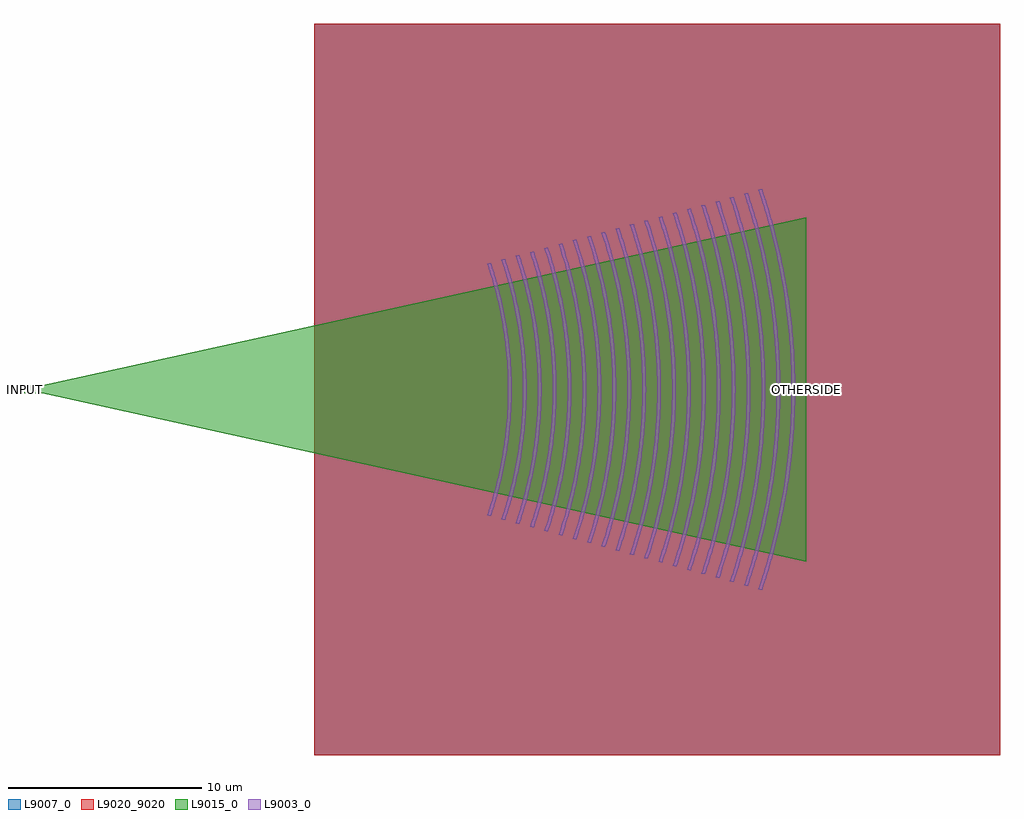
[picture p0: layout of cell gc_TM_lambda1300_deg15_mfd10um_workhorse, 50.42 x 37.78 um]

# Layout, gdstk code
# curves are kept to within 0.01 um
import gdstk
lib = gdstk.Library(unit=1e-6, precision=1e-09)
def R(c, l, rs):  # rectangles x0, y0, x1, y1
    for r in rs: c.add(gdstk.rectangle(r[:2], r[2:], *l))
def P(c, l, *ps):  # polygons
    for p in ps: c.add(gdstk.Polygon(p, *l))
L9003_0 = (9003, 0)
L9007_0 = (9007, 0)
L9015_0 = (9015, 0)
L9020_9020 = (9020, 9020)

gc_tm_lambda1300_deg15_m = lib.new_cell('gc_TM_lambda1300_deg15_mfd10um_workhorse')
P(gc_tm_lambda1300_deg15_m, L9003_0, [(24.11,-6.55),(23.925,-6.5),(24.175,-5.712),(24.423,-4.793),(24.599,-4.005),(24.742,-3.217),(24.869,-2.298),(24.933,-1.641),(24.982,-0.854),(25,0.066),(25.193,0.066),(25.18,-0.728),(25.136,-1.522),(25.045,-2.448),(24.933,-3.242),(24.815,-3.904),(24.611,-4.83),(24.362,-5.756)],
  [(25,0.066),(24.982,0.854),(24.933,1.641),(24.869,2.298),(24.742,3.217),(24.599,4.005),(24.423,4.793),(24.175,5.712),(23.925,6.5),(24.11,6.55),(24.4,5.624),(24.643,4.698),(24.815,3.904),(24.993,2.845),(25.075,2.183),(25.136,1.522),(25.18,0.728),(25.193,0.066)],
  [(24.848,-6.751),(24.663,-6.7),(24.921,-5.888),(25.108,-5.211),(25.271,-4.535),(25.41,-3.858),(25.547,-3.046),(25.678,-1.963),(25.746,-1.015),(25.771,0.068),(25.963,0.068),(25.945,-0.886),(25.894,-1.705),(25.811,-2.523),(25.673,-3.478),(25.519,-4.296),(25.33,-5.114),(25.107,-5.932)],
  [(25.771,0.068),(25.752,0.88),(25.702,1.692),(25.62,2.504),(25.505,3.316),(25.357,4.129),(25.176,4.941),(24.921,5.888),(24.663,6.7),(24.848,6.751),(25.147,5.796),(25.429,4.705),(25.65,3.614),(25.776,2.796),(25.857,2.114),(25.915,1.432),(25.95,0.75),(25.963,0.068)],
  [(25.585,-6.951),(25.401,-6.901),(25.707,-5.925),(25.995,-4.81),(26.196,-3.834),(26.35,-2.858),(26.418,-2.3),(26.492,-1.464),(26.528,-0.767),(26.541,0.07),(26.734,0.07),(26.715,-0.913),(26.663,-1.755),(26.56,-2.738),(26.435,-3.581),(26.276,-4.423),(26.082,-5.266),(25.852,-6.108)],
  [(26.541,0.07),(26.528,0.767),(26.492,1.464),(26.418,2.3),(26.331,2.997),(26.17,3.973),(25.929,5.088),(25.707,5.925),(25.401,6.901),(25.585,6.951),(25.893,5.968),(26.151,4.985),(26.36,4.002),(26.522,3.019),(26.61,2.317),(26.674,1.615),(26.715,0.913),(26.734,0.07)],
  [(26.323,-7.151),(26.138,-7.101),(26.369,-6.384),(26.61,-5.523),(26.782,-4.806),(26.93,-4.089),(27.096,-3.084),(27.214,-2.08),(27.293,-0.932),(27.312,0.072),(27.505,0.072),(27.491,-0.795),(27.443,-1.661),(27.344,-2.673),(27.221,-3.54),(27.064,-4.406),(26.834,-5.418),(26.598,-6.284)],
  [(27.312,0.072),(27.293,0.932),(27.251,1.65),(27.185,2.367),(27.096,3.084),(26.93,4.089),(26.682,5.236),(26.453,6.097),(26.138,7.101),(26.323,7.151),(26.64,6.14),(26.905,5.129),(27.12,4.117),(27.287,3.106),(27.377,2.384),(27.443,1.661),(27.479,1.084),(27.504,0.217),(27.505,0.072)],
  [(27.061,-7.352),(26.876,-7.302),(27.157,-6.417),(27.361,-5.679),(27.538,-4.942),(27.69,-4.204),(27.881,-3.024),(27.996,-1.991),(28.063,-0.959),(28.083,0.074),(28.276,0.074),(28.261,-0.817),(28.212,-1.708),(28.11,-2.748),(27.984,-3.639),(27.822,-4.53),(27.623,-5.421),(27.343,-6.461)],
  [(28.083,0.074),(28.069,0.811),(28.02,1.696),(27.881,3.024),(27.744,3.909),(27.505,5.089),(27.2,6.269),(26.876,7.302),(27.061,7.352),(27.386,6.312),(27.659,5.272),(27.908,4.084),(28.072,3.045),(28.144,2.451),(28.223,1.559),(28.261,0.817),(28.276,0.074)],
  [(27.798,-7.552),(27.614,-7.502),(27.989,-6.29),(28.26,-5.229),(28.478,-4.168),(28.646,-3.107),(28.735,-2.349),(28.8,-1.591),(28.844,-0.682),(28.854,0.076),(29.047,0.076),(29.032,-0.839),(28.981,-1.755),(28.876,-2.823),(28.747,-3.738),(28.611,-4.501),(28.376,-5.569),(28.133,-6.484)],
  [(28.854,0.076),(28.839,0.834),(28.8,1.591),(28.735,2.349),(28.625,3.258),(28.421,4.471),(28.188,5.532),(27.902,6.593),(27.614,7.502),(27.798,7.552),(28.133,6.484),(28.413,5.416),(28.64,4.348),(28.816,3.28),(28.911,2.517),(28.981,1.755),(29.026,0.992),(29.046,0.229),(29.047,0.076)],
  [(28.536,-7.753),(28.351,-7.702),(28.601,-6.924),(28.863,-5.991),(29.05,-5.213),(29.21,-4.435),(29.39,-3.346),(29.518,-2.256),(29.596,-1.167),(29.625,0.078),(29.817,0.078),(29.796,-1.018),(29.738,-1.958),(29.661,-2.741),(29.51,-3.837),(29.339,-4.777),(29.129,-5.717),(28.834,-6.813)],
  [(29.625,0.078),(29.603,1.011),(29.558,1.789),(29.487,2.567),(29.39,3.346),(29.21,4.435),(28.941,5.68),(28.693,6.613),(28.351,7.702),(28.536,7.753),(28.834,6.813),(29.167,5.56),(29.4,4.464),(29.581,3.367),(29.661,2.741),(29.738,1.958),(29.789,1.175),(29.814,0.392),(29.817,0.078)],
  [(29.274,-7.953),(29.089,-7.903),(29.345,-7.105),(29.572,-6.306),(29.806,-5.348),(29.97,-4.55),(30.154,-3.433),(30.301,-2.155),(30.374,-1.038),(30.395,0.08),(30.588,0.08),(30.566,-1.044),(30.493,-2.169),(30.389,-3.133),(30.246,-4.097),(30.064,-5.061),(29.842,-6.025),(29.579,-6.989)],
  [(30.395,0.08),(30.374,1.038),(30.327,1.836),(30.254,2.634),(30.154,3.433),(29.97,4.55),(29.732,5.668),(29.485,6.626),(29.089,7.903),(29.274,7.953),(29.626,6.828),(29.921,5.704),(30.19,4.418),(30.368,3.294),(30.462,2.49),(30.531,1.687),(30.566,1.044),(30.587,0.241),(30.588,0.08)],
  [(30.011,-8.153),(29.827,-8.103),(30.186,-6.957),(30.447,-5.975),(30.699,-4.829),(30.919,-3.52),(31.021,-2.701),(31.108,-1.719),(31.156,-0.737),(31.166,0.082),(31.359,0.082),(31.343,-0.906),(31.275,-2.059),(31.175,-3.047),(31.008,-4.2),(30.822,-5.188),(30.594,-6.177),(30.324,-7.165)],
  [(31.166,0.082),(31.156,0.737),(31.108,1.719),(31.021,2.701),(30.919,3.52),(30.699,4.829),(30.447,5.975),(30.186,6.957),(29.827,8.103),(30.011,8.153),(30.372,7),(30.675,5.847),(30.951,4.53),(31.11,3.541),(31.213,2.718),(31.288,1.894),(31.329,1.235),(31.356,0.412),(31.359,0.082)],
  [(30.749,-8.354),(30.564,-8.304),(30.833,-7.465),(31.071,-6.626),(31.317,-5.62),(31.49,-4.781),(31.684,-3.607),(31.822,-2.432),(31.914,-1.09),(31.937,0.084),(32.13,0.084),(32.107,-1.097),(32.044,-2.11),(31.941,-3.122),(31.798,-4.135),(31.614,-5.147),(31.346,-6.329),(31.07,-7.341)],
  [(31.937,0.084),(31.921,0.923),(31.865,1.929),(31.788,2.768),(31.684,3.607),(31.458,4.949),(31.2,6.123),(30.932,7.129),(30.564,8.304),(30.749,8.354),(31.119,7.172),(31.429,5.991),(31.68,4.81),(31.875,3.628),(31.98,2.785),(32.057,1.941),(32.107,1.097),(32.129,0.253),(32.13,0.084)],
  [(31.487,-8.554),(31.302,-8.504),(31.578,-7.645),(31.866,-6.614),(32.111,-5.583),(32.282,-4.724),(32.472,-3.522),(32.606,-2.319),(32.684,-1.117),(32.708,0.086),(32.9,0.086),(32.884,-0.95),(32.813,-2.16),(32.686,-3.37),(32.561,-4.234),(32.337,-5.444),(32.141,-6.308),(31.815,-7.517)],
  [(32.708,0.086),(32.691,0.945),(32.634,1.976),(32.555,2.835),(32.448,3.694),(32.25,4.896),(31.994,6.099),(31.679,7.301),(31.302,8.504),(31.487,8.554),(31.915,7.172),(32.183,6.135),(32.44,4.925),(32.639,3.715),(32.728,3.024),(32.813,2.16),(32.86,1.469),(32.894,0.605),(32.9,0.086)],
  [(32.224,-8.755),(32.04,-8.704),(32.322,-7.825),(32.617,-6.77),(32.868,-5.715),(33.043,-4.836),(33.237,-3.605),(33.374,-2.374),(33.455,-1.143),(33.479,0.088),(33.671,0.088),(33.654,-0.973),(33.595,-2.034),(33.495,-3.095),(33.324,-4.333),(33.131,-5.394),(32.85,-6.632),(32.561,-7.693)],
  [(33.479,0.088),(33.455,1.143),(33.403,2.022),(33.303,3.077),(33.188,3.957),(32.976,5.188),(32.706,6.418),(32.425,7.474),(32.04,8.704),(32.224,8.755),(32.612,7.517),(32.937,6.279),(33.2,5.041),(33.379,3.979),(33.495,3.095),(33.566,2.388),(33.63,1.503),(33.66,0.796),(33.671,0.088)],
  [(32.962,-8.955),(32.777,-8.905),(33.066,-8.005),(33.321,-7.106),(33.585,-6.027),(33.77,-5.127),(33.978,-3.868),(34.143,-2.429),(34.225,-1.169),(34.249,0.09),(34.442,0.09),(34.417,-1.176),(34.35,-2.261),(34.24,-3.347),(34.087,-4.432),(33.852,-5.699),(33.602,-6.784),(33.306,-7.87)],
  [(34.249,0.09),(34.225,1.169),(34.172,2.069),(34.07,3.148),(33.952,4.048),(33.7,5.487),(33.459,6.566),(33.12,7.825),(32.777,8.905),(32.962,8.955),(33.359,7.689),(33.691,6.422),(33.96,5.156),(34.143,4.07),(34.24,3.347),(34.335,2.442),(34.4,1.538),(34.435,0.633),(34.442,0.09)],
  [(33.699,-9.155),(33.515,-9.105),(33.865,-8.002),(34.212,-6.714),(34.458,-5.61),(34.659,-4.507),(34.815,-3.403),(34.927,-2.299),(34.995,-1.196),(35.02,0.092),(35.213,0.092),(35.188,-1.202),(35.119,-2.312),(34.983,-3.607),(34.819,-4.716),(34.61,-5.826),(34.354,-6.936),(34.051,-8.046)],
  [(35.02,0.092),(34.995,1.196),(34.941,2.115),(34.857,3.035),(34.716,4.139),(34.495,5.426),(34.212,6.714),(33.865,8.002),(33.515,9.105),(33.699,9.155),(34.105,7.861),(34.4,6.751),(34.648,5.641),(34.907,4.162),(35.028,3.237),(35.103,2.497),(35.159,1.757),(35.201,0.832),(35.213,0.092)],
  [(34.437,-9.356),(34.253,-9.306),(34.665,-7.99),(34.965,-6.862),(35.178,-5.922),(35.422,-4.606),(35.581,-3.478),(35.71,-2.162),(35.773,-1.034),(35.791,0.094),(35.984,0.094),(35.958,-1.229),(35.888,-2.363),(35.773,-3.497),(35.612,-4.631),(35.406,-5.765),(35.153,-6.899),(34.797,-8.222)],
  [(35.791,0.094),(35.773,1.034),(35.71,2.162),(35.624,3.102),(35.48,4.23),(35.254,5.546),(34.965,6.862),(34.665,7.99),(34.253,9.306),(34.437,9.356),(34.797,8.222),(35.153,6.899),(35.444,5.576),(35.671,4.253),(35.795,3.308),(35.888,2.363),(35.971,0.851),(35.984,0.094)],
  [(35.175,-9.556),(34.99,-9.506),(35.356,-8.354),(35.67,-7.202),(35.895,-6.241),(36.153,-4.897),(36.347,-3.553),(36.464,-2.401),(36.543,-1.056),(36.562,0.096),(36.754,0.096),(36.736,-1.062),(36.656,-2.413),(36.539,-3.572),(36.375,-4.73),(36.165,-5.888),(35.858,-7.24),(35.542,-8.398)],
  [(36.562,0.096),(36.543,1.056),(36.479,2.208),(36.37,3.361),(36.244,4.321),(36.013,5.665),(35.718,7.01),(35.412,8.162),(34.99,9.506),(35.175,9.556),(35.542,8.398),(35.906,7.046),(36.203,5.695),(36.435,4.344),(36.562,3.378),(36.64,2.606),(36.698,1.834),(36.742,0.869),(36.754,0.096)],
  [(35.912,-9.757),(35.728,-9.706),(36.101,-8.53),(36.422,-7.353),(36.693,-6.177),(36.915,-5),(37.089,-3.824),(37.233,-2.451),(37.306,-1.275),(37.332,0.098),(37.525,0.098),(37.506,-1.084),(37.425,-2.464),(37.281,-3.844),(37.138,-4.829),(36.923,-6.012),(36.61,-7.391),(36.229,-8.771)],
  [(37.332,0.098),(37.306,1.275),(37.248,2.255),(37.137,3.432),(37.008,4.412),(36.772,5.785),(36.471,7.157),(36.101,8.53),(35.728,9.706),(35.912,9.757),(36.345,8.377),(36.659,7.194),(36.962,5.815),(37.199,4.435),(37.305,3.646),(37.39,2.858),(37.455,2.07),(37.506,1.084),(37.525,0.098)],
  [(36.65,-9.957),(36.466,-9.907),(36.905,-8.506),(37.224,-7.305),(37.492,-6.104),(37.71,-4.903),(37.88,-3.703),(38.002,-2.502),(38.084,-1.101),(38.103,0.1),(38.296,0.1),(38.276,-1.106),(38.194,-2.514),(38.071,-3.721),(37.901,-4.928),(37.64,-6.336),(37.362,-7.543),(37.033,-8.75)],
  [(38.103,0.1),(38.076,1.301),(38.002,2.502),(37.88,3.703),(37.772,4.503),(37.532,5.904),(37.224,7.305),(36.905,8.506),(36.466,9.907),(36.65,9.957),(37.033,8.75),(37.412,7.342),(37.721,5.934),(37.963,4.526),(38.095,3.52),(38.177,2.716),(38.249,1.71),(38.283,0.905),(38.296,0.1)],
  [(37.388,-10.157),(37.203,-10.107),(37.592,-8.882),(37.977,-7.453),(38.25,-6.228),(38.473,-5.003),(38.646,-3.777),(38.77,-2.552),(38.854,-1.123),(38.874,0.102),(39.067,0.102),(39.039,-1.334),(38.962,-2.565),(38.838,-3.796),(38.664,-5.027),(38.44,-6.259),(38.165,-7.49),(37.838,-8.721)],
  [(38.874,0.102),(38.854,1.123),(38.786,2.348),(38.693,3.369),(38.536,4.594),(38.291,6.024),(37.977,7.453),(37.592,8.882),(37.203,10.107),(37.388,10.157),(37.838,8.721),(38.165,7.49),(38.481,6.053),(38.727,4.617),(38.838,3.796),(38.945,2.77),(39.007,1.949),(39.047,1.129),(39.067,0.102)],
  [(38.125,-10.358),(37.941,-10.308),(38.398,-8.85),(38.73,-7.601),(39.009,-6.351),(39.236,-5.102),(39.412,-3.852),(39.539,-2.603),(39.625,-1.145),(39.645,0.104),(39.838,0.104),(39.809,-1.36),(39.731,-2.616),(39.578,-4.08),(39.392,-5.336),(39.155,-6.591),(38.866,-7.847),(38.523,-9.102)],
  [(39.645,0.104),(39.625,1.145),(39.555,2.395),(39.437,3.644),(39.3,4.685),(39.05,6.143),(38.73,7.601),(38.398,8.85),(37.941,10.308),(38.125,10.358),(38.584,8.893),(38.918,7.638),(39.24,6.173),(39.491,4.708),(39.629,3.662),(39.713,2.825),(39.776,1.988),(39.824,0.942),(39.838,0.104)])
R(gc_tm_lambda1300_deg15_m, L9007_0, [(15,-18.891,50.416,18.891)])
R(gc_tm_lambda1300_deg15_m, L9015_0, [(0,-0.205,24,0.205)])
P(gc_tm_lambda1300_deg15_m, L9015_0, [(40.416,-8.891),(0,0),(40.416,8.891)])
R(gc_tm_lambda1300_deg15_m, L9020_9020, [(15,-18.891,50.416,18.891)])
gc_tm_lambda1300_deg15_m.add(gdstk.Label('INPUT', (0,0), layer=9015, texttype=9001))
gc_tm_lambda1300_deg15_m.add(gdstk.Label('OTHERSIDE', (40.416,0), layer=9015, texttype=9001))
gc_tm_lambda1300_deg15_m.add(gdstk.Label('GRATING_EDGE', (40.416,0), layer=9015, texttype=9001))
gc_tm_lambda1300_deg15_m.add(gdstk.Label('sub!', (0,0), layer=61, texttype=31))

lib.write_gds('gc_TM_lambda1300_deg15_mfd10um_workhorse.gds')
